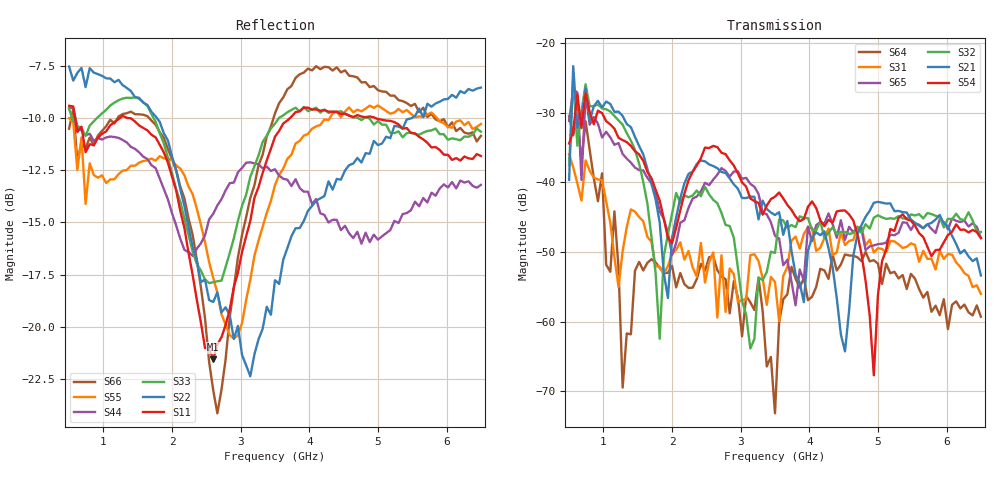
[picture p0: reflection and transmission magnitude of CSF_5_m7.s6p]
!Keysight Technologies,M9804A,MY58100912,A.14.10.03
!Date: Thursday, April 27, 2023 10:28:33
!Correction: S11(C  6-Port  )
!S12(C  6-Port  )
!S13(C  6-Port  )
!S14(C  6-Port  )
!S15(C  6-Port  )
!S16(C  6-Port  )
!S21(C  6-Port  )
!S22(C  6-Port  )
!S23(C  6-Port  )
!S24(C  6-Port  )
!S25(C  6-Port  )
!S26(C  6-Port  )
!S31(C  6-Port  )
!S32(C  6-Port  )
!S33(C  6-Port  )
!S34(C  6-Port  )
!S35(C  6-Port  )
!S36(C  6-Port  )
!S41(C  6-Port  )
!S42(C  6-Port  )
!S43(C  6-Port  )
!S44(C  6-Port  )
!S45(C  6-Port  )
!S46(C  6-Port  )
!S51(C  6-Port  )
!S52(C  6-Port  )
!S53(C  6-Port  )
!S54(C  6-Port  )
!S55(C  6-Port  )
!S56(C  6-Port  )
!S61(C  6-Port  )
!S62(C  6-Port  )
!S63(C  6-Port  )
!S64(C  6-Port  )
!S65(C  6-Port  )
!S66(C  6-Port  )
!S6P File: Measurement: :
# Hz S  RI  R 50
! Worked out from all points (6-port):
!   101 points, 500 MHz to 6.5 GHz, reference 50 ohm
!   strongest paths, dB at 500 MHz, 2 GHz, 3.5 GHz, 5 GHz, 6.5 GHz:
!     S54: -34.4, -48.7, -42.0, -56.2, -48.0
!     S21: -39.6, -48.0, -44.7, -42.8, -53.4
!     S32: -37.5, -44.5, -50.1, -44.7, -47.1
!     S65: -31.1, -50.4, -47.7, -48.9, -48.0
!     S31: -36.0, -50.2, -54.3, -49.5, -56.0
!     S64: -30.5, -52.0, -73.2, -51.7, -59.3
!   lowest |S11| = -21.6 dB at 2.6 GHz (marker M1), VSWR 1.18, Z = 42.6 + j2.07 ohm
!   |S11| at or under -10 dB: 587.7 MHz to 1.236 GHz (648.3 MHz wide, 71.1 % of centre); 1.39 GHz to 3.715 GHz (2.326 GHz wide, 91.1 % of centre); 4.971 GHz to end of sweep
